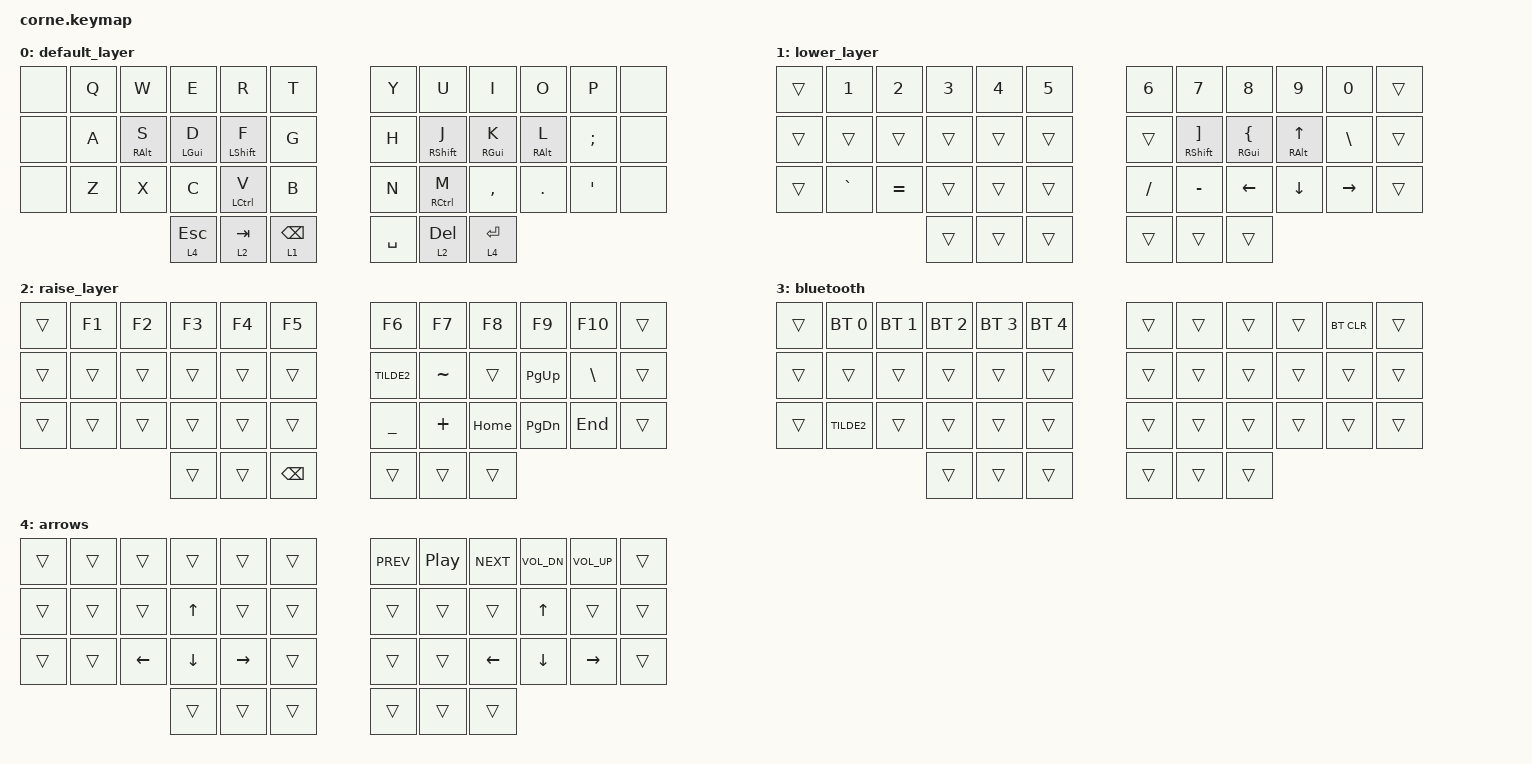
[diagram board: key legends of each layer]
/*
 * Copyright (c) 2020 The ZMK Contributors
 *
 * SPDX-License-Identifier: MIT
 */

#include <behaviors.dtsi>
#include <dt-bindings/zmk/bt.h>
#include <dt-bindings/zmk/keys.h>

/ {
    combos {
        compatible = "zmk,combos";

        bluetooth {
            bindings = <&mo 3>;
            key-positions = <36 41>;
        };
    };

    behaviors {
        hml: hml {
            compatible = "zmk,behavior-hold-tap";
            label = "HOME_ROW_LEFT";
            bindings = <&kp>, <&kp>;

            #binding-cells = <2>;
            tapping-term-ms = <180>;
            quick-tap-ms = <175>;
            require-prior-idle-ms = <150>;
            flavor = "balanced";
            hold-trigger-key-positions = <6 7 8 9 10 11 18 19 20 21 22 23 30 31 32 33 34 35>;
            hold-trigger-on-release;
        };

        hmr: hmr {
            compatible = "zmk,behavior-hold-tap";
            label = "HOME_ROW_RIGHT";
            bindings = <&kp>, <&kp>;

            #binding-cells = <2>;
            tapping-term-ms = <180>;
            quick-tap-ms = <175>;
            require-prior-idle-ms = <150>;
            flavor = "balanced";
            hold-trigger-key-positions = <0 1 2 3 4 5 12 13 14 15 16 17 24 25 26 27 28 29>;
            hold-trigger-on-release;
        };
    };

    keymap {
        compatible = "zmk,keymap";

        default_layer {
            bindings = <
&none  &kp Q  &kp W             &kp E            &kp R                &kp T              &kp Y      &kp U               &kp I             &kp O             &kp P             &none
&none  &kp A  &hml RIGHT_ALT S  &hml LEFT_GUI D  &hml LEFT_SHIFT F    &kp G              &kp H      &hmr RIGHT_SHIFT J  &hmr RIGHT_GUI K  &hmr RIGHT_ALT L  &kp SEMI          &none
&none  &kp Z  &kp X             &kp C            &hml LEFT_CONTROL V  &kp B              &kp N      &hmr RCTRL M        &kp COMMA         &kp DOT           &kp SINGLE_QUOTE  &none
                                &lt 4 ESC        &lt 2 TAB            &lt 1 BACKSPACE    &kp SPACE  &lt 2 DELETE        &lt 4 ENTER
            >;
        };

        lower_layer {
            bindings = <
&trans  &kp N1     &kp N2     &kp N3  &kp N4  &kp N5    &kp N6     &kp N7                          &kp N8                     &kp N9                   &kp N0     &trans
&trans  &trans     &trans     &trans  &trans  &trans    &trans     &hml RIGHT_SHIFT RIGHT_BRACKET  &hmr RIGHT_GUI LEFT_BRACE  &hmr RIGHT_ALT UP_ARROW  &kp BSLH   &trans
&trans  &kp GRAVE  &kp EQUAL  &trans  &trans  &trans    &kp SLASH  &kp MINUS                       &kp LEFT_ARROW             &kp DOWN_ARROW           &kp RIGHT  &trans
                              &trans  &trans  &trans    &trans     &trans                          &trans
            >;
        };

        raise_layer {
            bindings = <
&trans  &kp F1  &kp F2  &kp F3  &kp F4  &kp F5           &kp F6      &kp F7     &kp F8    &kp F9         &kp F10   &trans
&trans  &trans  &trans  &trans  &trans  &trans           &kp TILDE2  &kp TILDE  &trans    &kp PG_UP      &kp BSLH  &trans
&trans  &trans  &trans  &trans  &trans  &trans           &kp UNDER   &kp PLUS   &kp HOME  &kp PAGE_DOWN  &kp END   &trans
                        &trans  &trans  &kp BACKSPACE    &trans      &trans     &trans
            >;
        };

        bluetooth {
            bindings = <
&trans  &bt BT_SEL 0  &bt BT_SEL 1  &bt BT_SEL 2  &bt BT_SEL 3  &bt BT_SEL 4    &trans  &trans  &trans  &trans  &bt BT_CLR  &trans
&trans  &trans        &trans        &trans        &trans        &trans          &trans  &trans  &trans  &trans  &trans      &trans
&trans  &kp TILDE2    &trans        &trans        &trans        &trans          &trans  &trans  &trans  &trans  &trans      &trans
                                    &trans        &trans        &trans          &trans  &trans  &trans
            >;
        };

        arrows {
            bindings = <
&trans  &trans  &trans          &trans          &trans     &trans    &kp C_PREV  &kp C_PP  &kp C_NEXT  &kp C_VOL_DN  &kp C_VOL_UP  &trans
&trans  &trans  &trans          &kp UP_ARROW    &trans     &trans    &trans      &trans    &trans      &kp UP_ARROW  &trans        &trans
&trans  &trans  &kp LEFT_ARROW  &kp DOWN_ARROW  &kp RIGHT  &trans    &trans      &trans    &kp LEFT    &kp DOWN      &kp RIGHT     &trans
                                &trans          &trans     &trans    &trans      &trans    &trans
            >;
        };
    };
};
